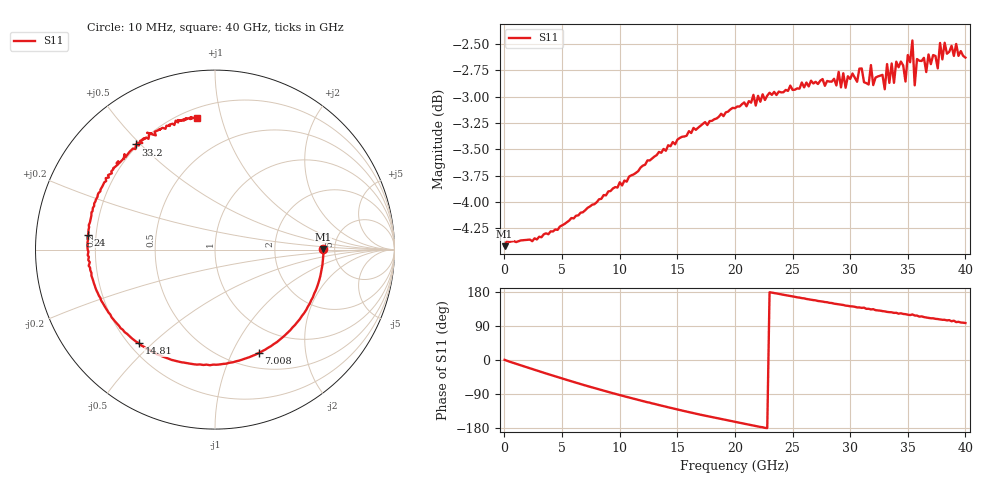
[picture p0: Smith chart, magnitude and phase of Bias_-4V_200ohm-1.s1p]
!Agilent Technologies,N5227A,US51270434,A.10.00.00
!Agilent N5227A: A.10.00.00
!Date: Monday, March 30, 2026 11:35:26
!Correction: S11(Full 1 Port(1))
!S1P File: Measurement: S11:
# Hz S  dB  R 50
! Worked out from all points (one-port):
!   201 points, 10 MHz to 40 GHz, reference 50 ohm
!   lowest |S11| = -4.4 dB at 10 MHz (marker M1), VSWR 4.02, Z = 201 + j2.42 ohm
!   |S11| at or under -10 dB: nowhere
!   S11 on the Smith chart (normalised r, x): 10 MHz: 4.02, +0.05; 7.008 GHz: 0.68, -1.28; 14.81 GHz: 0.24, -0.45; 24 GHz: 0.17, +0.06; 33.2 GHz: 0.19, +0.48; 40 GHz: 0.26, +0.84
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1e7  -4.42 0.4
2.60935e9  -4.34 -25.8
5.00875e9  -4.22 -48.8
7.00825e9  -4.08 -67.0
1.00075e10  -3.81 -92.5
1.260685e10  -3.61 -112.5
1.48063e10  -3.45 -129.1
1.500625e10  -3.41 -130.5
1.740565e10  -3.24 -146.8
2.0005e10  -3.11 -163.0
2.16046e10  -2.98 -172.7
2.4004e10  -2.96 173.3
2.500375e10  -2.94 167.8
2.76031e10  -2.83 154.2
3.00025e10  -2.83 141.7
3.2002e10  -2.89 134.1
3.32017e10  -2.69 127.0
3.48013e10  -2.86 121.0
3.500125e10  -2.61 119.6
3.52012e10  -2.67 118.6
3.540115e10  -2.47 120.2
3.56011e10  -2.89 117.4
3.6001e10  -2.66 114.5
3.860035e10  -2.57 105.2
3.88003e10  -2.52 102.2
3.900025e10  -2.61 103.8
3.92002e10  -2.50 100.0
4e10  -2.63 97.6
